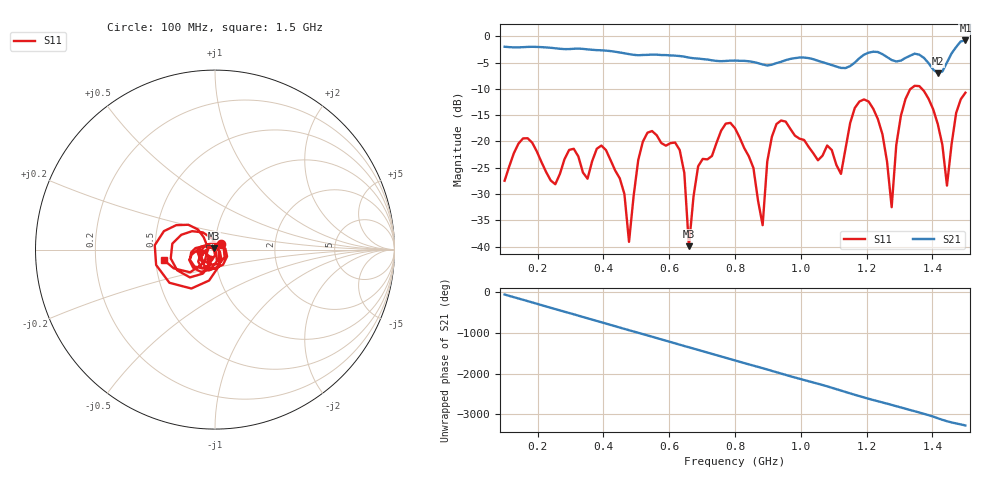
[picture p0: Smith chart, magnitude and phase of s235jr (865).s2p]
! NanoVNA-App
! Date: 2025-09-25 15:10:54
! Start: 100MHz Stop: 1,5GHz Points: 101
! S-Parameter data: F S11 S21 S12 S22
# Hz S RI R 50
!  Frequency  S11_Real  S11_Imag  S21_Real  S21_Imag  S12_Real  S12_Imag  S22_Real  S22_Imag
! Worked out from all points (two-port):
!   101 points, 100 MHz to 1.5 GHz, reference 50 ohm
!   highest |S21| = -0.77 dB at 1.5 GHz (marker M1); lowest = -7.0 dB at 1.416 GHz (marker M2)
!   |S21| within 3 dB of the highest: start of sweep to 636.3 MHz; 1.186 GHz to 1.258 GHz (72.06 MHz wide, 5.9 % of centre) (the widest 2 of 4)
!   lowest |S11| = -39.9 dB at 660 MHz (marker M3), VSWR 1.02, Z = 49.2 + j0.611 ohm
!   |S11| at or under -10 dB: start of sweep to 1.333 GHz; 1.368 GHz to end of sweep
!   S12 and S22 are empty: the file has one direction only
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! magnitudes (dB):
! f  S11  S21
! 100 MHz  -27.5  -2.0
! 156 MHz  -19.4  -2.0
! 338 MHz  -25.9  -2.4
! 408 MHz  -21.6  -2.7
! 478 MHz  -39.1  -3.4
! 520 MHz  -20.0  -3.5
! 576 MHz  -20.3  -3.5
! 632 MHz  -21.6  -3.7
! 660 MHz  -39.9  -4.0
! 688 MHz  -24.7  -4.2
! 800 MHz  -17.5  -4.6
! 884 MHz  -35.9  -5.3
! 926 MHz  -16.7  -5.1
! 1.038 GHz  -22.2  -4.3
! 1.122 GHz  -26.2  -6.0
! 1.206 GHz  -12.4  -3.1
! 1.276 GHz  -32.5  -4.5
! 1.29 GHz  -20.7  -4.8
! 1.332 GHz  -10.1  -3.7
! 1.416 GHz  -16.7  -7.0
! 1.444 GHz  -28.4  -5.0
! 1.5 GHz  -10.7  -0.8
